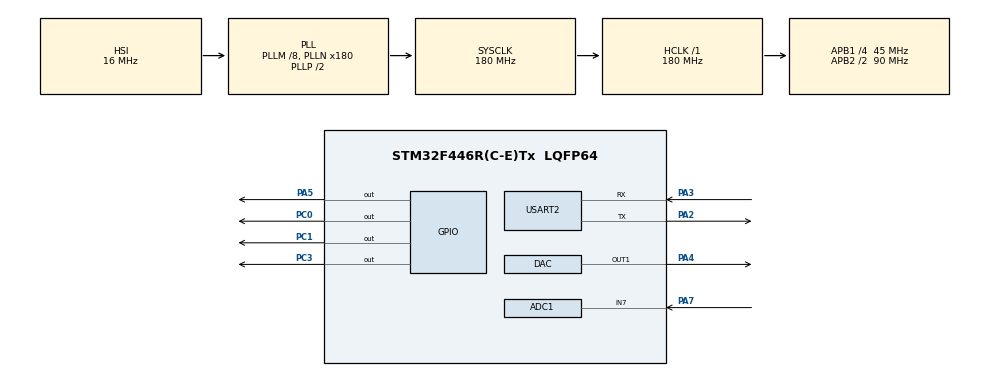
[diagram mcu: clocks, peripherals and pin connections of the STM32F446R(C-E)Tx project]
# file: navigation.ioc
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ADC1.Channel-0\#ChannelRegularConversion=ADC_CHANNEL_7
ADC1.ExternalTrigConv=ADC_EXTERNALTRIGCONV_T3_TRGO
ADC1.NbrOfConversionFlag=1
ADC1.Rank-0\#ChannelRegularConversion=1
ADC1.SamplingTime-0\#ChannelRegularConversion=ADC_SAMPLETIME_3CYCLES
ADC1.master=1
DAC.DAC_Trigger=DAC_TRIGGER_T2_TRGO
Dma.DAC1.0.Direction=DMA_MEMORY_TO_PERIPH
Dma.DAC1.0.FIFOMode=DMA_FIFOMODE_DISABLE
Dma.DAC1.0.Instance=DMA1_Stream5
Dma.DAC1.0.MemDataAlignment=DMA_MDATAALIGN_WORD
Dma.DAC1.0.MemInc=DMA_MINC_ENABLE
Dma.DAC1.0.Mode=DMA_NORMAL
Dma.DAC1.0.PeriphDataAlignment=DMA_PDATAALIGN_WORD
Dma.DAC1.0.PeriphInc=DMA_PINC_DISABLE
Dma.DAC1.0.Priority=DMA_PRIORITY_LOW
Dma.Request0=DAC1
Mcu.Family=STM32F4
Mcu.Name=STM32F446R(C-E)Tx
Mcu.Package=LQFP64
NVIC.ADC_IRQn=true\:0\:0\:false\:false\:true\:true\:true\:true
NVIC.DMA1_Stream5_IRQn=true\:0\:0\:false\:false\:true\:false\:true\:true
NVIC.PriorityGroup=NVIC_PRIORITYGROUP_4
PA13.Mode=Serial_Wire
PA13.Signal=SYS_JTMS-SWDIO
PA14.Mode=Serial_Wire
PA14.Signal=SYS_JTCK-SWCLK
PA2.Mode=Asynchronous
PA2.Signal=USART2_TX
PA3.Mode=Asynchronous
PA3.Signal=USART2_RX
PA4.Signal=COMP_DAC1_group
PA5.PinState=GPIO_PIN_SET
PA5.Signal=GPIO_Output
PA7.Signal=ADCx_IN7
PC0.GPIO_Speed=GPIO_SPEED_FREQ_LOW
PC0.Signal=GPIO_Output
PC1.GPIO_Speed=GPIO_SPEED_FREQ_LOW
PC1.Signal=GPIO_Output
PC3.GPIO_Speed=GPIO_SPEED_FREQ_LOW
PC3.Signal=GPIO_Output
PH0-OSC_IN.Mode=HSE-External-Oscillator
PH0-OSC_IN.Signal=RCC_OSC_IN
PH1-OSC_OUT.Mode=HSE-External-Oscillator
PH1-OSC_OUT.Signal=RCC_OSC_OUT
ProjectManager.HeapSize=0x200
ProjectManager.StackSize=0x400
ProjectManager.TargetToolchain=STM32CubeIDE
RCC.AHBFreq_Value=180000000
RCC.APB1CLKDivider=RCC_HCLK_DIV4
RCC.APB1Freq_Value=45000000
RCC.APB1TimFreq_Value=90000000
RCC.APB2CLKDivider=RCC_HCLK_DIV2
RCC.APB2Freq_Value=90000000
RCC.APB2TimFreq_Value=180000000
RCC.CortexFreq_Value=180000000
RCC.HCLKFreq_Value=180000000
RCC.PLLM=8
RCC.PLLN=180
RCC.SYSCLKFreq_VALUE=180000000
RCC.SYSCLKSource=RCC_SYSCLKSOURCE_PLLCLK
RCC.USBFreq_Value=180000000
RCC.VCOOutputFreq_Value=360000000
SH.ADCx_IN7.0=ADC1_IN7,IN7
SH.COMP_DAC1_group.0=DAC_OUT1,DAC_OUT1
TIM2.Period=561
TIM2.Prescaler=1
TIM3.Period=561
TIM3.Prescaler=1
USART2.VirtualMode=VM_ASYNC
VP_TIM2_VS_ClockSourceINT.Mode=Internal
VP_TIM3_VS_ClockSourceINT.Mode=Internal
board=custom

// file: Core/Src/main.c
/* USER CODE BEGIN Header */
/**
  ******************************************************************************
  * @file           : main.c
  * @brief          : Main program body
  ******************************************************************************
  * @attention
  *
  * Copyright (c) 2025 STMicroelectronics.
  * All rights reserved.
  *
  * This software is licensed under terms that can be found in the LICENSE file
  * in the root directory of this software component.
  * If no LICENSE file comes with this software, it is provided AS-IS.
  *
  ******************************************************************************
  */
/* USER CODE END Header */
#include "main.h"

/* USER CODE BEGIN Includes */
#include "math.h"
/* USER CODE END Includes */

/* USER CODE BEGIN PD */
#define MasSize 416
#define ADCIn MasSize + 200
/* USER CODE END PD */

ADC_HandleTypeDef hadc1;

DAC_HandleTypeDef hdac;
DMA_HandleTypeDef hdma_dac1;

TIM_HandleTypeDef htim2;
TIM_HandleTypeDef htim3;

UART_HandleTypeDef huart2;

/* USER CODE BEGIN PV */
const uint32_t Bark[MasSize] = {1736,2075,2400,2700,2964,3179,3340,3439,3472,3439,3340,3179,2964,2700,2400,2075,1736,1397,1072,772,508,293,132,33,0,33,132,293,508,772,1072,1397,1736,2075,2400,2700,2964,3179,3340,3439,3472,3439,3340,3179,2964,2700,2400,2075,1736,1397,1072,772,508,293,132,33,0,33,132,293,508,772,1072,1397,1736,2075,2400,2700,2964,3179,3340,3439,3472,3439,3340,3179,2964,2700,2400,2075,1736,1397,1072,772,508,293,132,33,0,33,132,293,508,772,1072,1397,1736,2075,2400,2700,2964,3179,3340,3439,3472,3439,3340,3179,2964,2700,2400,2075,1736,1397,1072,772,508,293,132,33,0,33,132,293,508,772,1072,1397,1736,2075,2400,2700,2964,3179,3340,3439,3472,3439,3340,3179,2964,2700,2400,2075,1736,1397,1072,772,508,293,132,33,0,33,132,293,508,772,1072,1397,1736,1397,1072,772,508,293,132,33,0,33,132,293,508,772,1072,1397,1736,2075,2400,2700,2964,3179,3340,3439,3472,3439,3340,3179,2964,2700,2400,2075,1736,1397,1072,772,508,293,132,33,0,33,132,293,508,772,1072,1397,1736,2075,2400,2700,2964,3179,3340,3439,3472,3439,3340,3179,2964,2700,2400,2075,1736,2075,2400,2700,2964,3179,3340,3439,3472,3439,3340,3179,2964,2700,2400,2075,1736,1397,1072,772,508,293,132,33,0,33,132,293,508,772,1072,1397,1736,2075,2400,2700,2964,3179,3340,3439,3472,3439,3340,3179,2964,2700,2400,2075,1736,1397,1072,772,508,293,132,33,0,33,132,293,508,772,1072,1397,1736,1397,1072,772,508,293,132,33,0,33,132,293,508,772,1072,1397,1736,2075,2400,2700,2964,3179,3340,3439,3472,3439,3340,3179,2964,2700,2400,2075,1736,2075,2400,2700,2964,3179,3340,3439,3472,3439,3340,3179,2964,2700,2400,2075,1736,1397,1072,772,508,293,132,33,0,33,132,293,508,772,1072,1397,1736,1397,1072,772,508,293,132,33,0,33,132,293,508,772,1072,1397,1736,2075,2400,2700,2964,3179,3340,3439,3472,3439,3340,3179,2964,2700,2400,2075,1736,2075,2400,2700,2964,3179,3340,3439,3472,3439,3340,3179,2964,2700,2400,2075,1736,1397,1072,772,508,293,132,33,0,33,132,293,508,772,1072,1397};
int32_t buff[ADCIn];
uint16_t num = 0;
volatile int32_t corr = 0;
volatile uint16_t distance = 0;
volatile uint8_t adcReady = 0;
uint8_t speakerNum = 1;
unsigned char a, buf[3];
unsigned char micdebug[4];
volatile int32_t debug1 = 0;
/* USER CODE END PV */

void SystemClock_Config(void);
static void MX_GPIO_Init(void);
static void MX_DMA_Init(void);
static void MX_ADC1_Init(void);
static void MX_DAC_Init(void);
static void MX_TIM2_Init(void);
static void MX_TIM3_Init(void);
static void MX_USART2_UART_Init(void);
/* USER CODE BEGIN PFP */
void autocorr(int32_t *mas1,const uint32_t *mas2);
int32_t calculateAverage(int32_t *mas1, int32_t length);
/* USER CODE END PFP */

int main(void)
{

  /* MCU Configuration--------------------------------------------------------*/

  /* Reset of all peripherals, Initializes the Flash interface and the Systick. */
  HAL_Init();

  /* Configure the system clock */
  SystemClock_Config();

  /* Initialize all configured peripherals */
  MX_GPIO_Init();
  MX_DMA_Init();
  MX_ADC1_Init();
  MX_DAC_Init();
  MX_TIM2_Init();
  MX_TIM3_Init();
  MX_USART2_UART_Init();
  /* USER CODE BEGIN 2 */
  HAL_UART_Transmit(&huart2,(uint8_t*)"System start\r\n", 16,100);

  if(HAL_TIM_Base_Start(&htim3)==HAL_OK){
	HAL_UART_Transmit(&huart2, (uint8_t*)"Tim3 start\r\n", 14,100);
  } else{
	HAL_UART_Transmit(&huart2, (uint8_t*)"Tim3 error\r\n", 12,100);
  }
  // Включаем первый динамик
  HAL_GPIO_WritePin(GPIOC, GPIO_PIN_1, GPIO_PIN_SET);
  HAL_GPIO_WritePin(GPIOC, GPIO_PIN_0, GPIO_PIN_RESET);
  HAL_GPIO_WritePin(GPIOC, GPIO_PIN_3, GPIO_PIN_RESET);
  HAL_Delay(1000);

  // Инициализируем DMA
  HAL_TIM_Base_Start(&htim2);
  HAL_DAC_Start_DMA(&hdac, DAC_CHANNEL_1, (uint32_t*)Bark, MasSize, DAC_ALIGN_12B_R);

  // Инициализируем ADC
  HAL_ADC_Start_IT(&hadc1);
  HAL_TIM_PWM_Start(&htim3, TIM_CHANNEL_1);

  // Включаем таймер, который отвечает за частоту измерения расстояний
  // HAL_TIM_Base_Start_IT(&htim1);
  /* USER CODE END 2 */

  /* Infinite loop */
  while (1)
  {
	        //debug1 = 0;
	        if(adcReady)//
	        {
	        	adcReady = 0;
	        	HAL_UART_Transmit(&huart2,(uint8_t*)"Processssss\r\n", 16,100);
	        	/*           for(uint16_t c = 0;c<ADCIn;c++)
	          {
	                debug1 = -buff[c];
	                HAL_Delay(3);
	            }*/

	            // Передача значений принятых с микрофона по UART. Раскомментировать при отладке.

	            for(uint16_t c = 0;c<ADCIn;c++)
	            {
	                debug1 = buff[c];
	                for( a=0; a<4; a++ ) micdebug[a] = '0';
	                while( debug1>=1000 )    { micdebug[0]++; debug1 = debug1-1000; }
	                while( debug1>=100 )     { micdebug[1]++; debug1 = debug1-100; }
	                while( debug1>=10 )      { micdebug[2]++; debug1 = debug1-10; }
	                micdebug[3] += debug1;
	                HAL_UART_Transmit(&huart2,(uint8_t*)micdebug, a, 1000);
	                HAL_UART_Transmit(&huart2,(uint8_t*)"\n", 1, 1000);
	            }

	            // Конец сегмента для отладки

	            // Вычисление постоянной составляющей и взаимной корреляции

	            int32_t mean = calculateAverage(buff,ADCIn);
	            for(uint16_t c = 0;c<ADCIn;c++)
	            {
	                buff[c] = buff[c]-mean;
	            }
	            autocorr(buff,Bark);

	            // Конец сегмента

	            num=0;

	            // Пересылка расстояния по UART. Закомментировать при отладке
	            /*
	            for( a=0; a<3; a++ ) buf[a] = '0';
	            while( distance>=100 )     { buf[0]++; distance = distance-100; }
	            while( distance>=10 )       { buf[1]++; distance = distance-10; }
	            buf[2] += distance;

	            HAL_UART_Transmit(&huart2,(uint8_t*)"s\n", 2, 1000);
	            HAL_UART_Transmit(&huart2,(uint8_t*)buf, a, 1000);
	            HAL_UART_Transmit(&huart2,(uint8_t*)"\n", 1, 1000);
	            HAL_Delay(30);
				*/
	            // Конец сегмента передачи расстояния по UART

	            // Переключаем светодиод для индикации следующего замера
	            HAL_GPIO_TogglePin(GPIOA,GPIO_PIN_6);

	            // Выбираем следующий динамик (необходимо раскомментировать необходимое)

	            /*(1)Переключение динамиков (основной режим работы)*/
	            speakerNum++;
	            /*(2)Только первый*/
	            //speakerNum=0;
	            /*(3)Только второй*/
	            //speakerNum=1;
	            /*(4)Только третий*/
	            //speakerNum=2;

	            if (speakerNum > 2){
	  					speakerNum = 0;
	  					}

	            // Включаем необходимый динамик
	            switch(speakerNum)
	            {
	            case 0:
	                HAL_GPIO_WritePin(GPIOC, GPIO_PIN_1, GPIO_PIN_SET);
	                break;
	            case 1:
	                HAL_GPIO_WritePin(GPIOC, GPIO_PIN_0, GPIO_PIN_SET);
	                break;
	            case 2:
	                HAL_GPIO_WritePin(GPIOC, GPIO_PIN_3, GPIO_PIN_SET);
	                break;
	            default :
	                break;
	            }

	            // Повторно запускаем DMA
	            HAL_DAC_Start_DMA(&hdac, DAC_CHANNEL_1, (uint32_t*)Bark, MasSize, DAC_ALIGN_12B_R);
	            // Повторно запускаем ADC
	            HAL_ADC_Start_IT(&hadc1);
	        }
  }
}

void SystemClock_Config(void)
{
  RCC_OscInitTypeDef RCC_OscInitStruct = {0};
  RCC_ClkInitTypeDef RCC_ClkInitStruct = {0};

  /** Configure the main internal regulator output voltage
  */
  __HAL_RCC_PWR_CLK_ENABLE();
  __HAL_PWR_VOLTAGESCALING_CONFIG(PWR_REGULATOR_VOLTAGE_SCALE1);

  /** Initializes the RCC Oscillators according to the specified parameters
  * in the RCC_OscInitTypeDef structure.
  */
  RCC_OscInitStruct.OscillatorType = RCC_OSCILLATORTYPE_HSI;
  RCC_OscInitStruct.HSIState = RCC_HSI_ON;
  RCC_OscInitStruct.HSICalibrationValue = RCC_HSICALIBRATION_DEFAULT;
  RCC_OscInitStruct.PLL.PLLState = RCC_PLL_ON;
  RCC_OscInitStruct.PLL.PLLSource = RCC_PLLSOURCE_HSI;
  RCC_OscInitStruct.PLL.PLLM = 8;
  RCC_OscInitStruct.PLL.PLLN = 180;
  RCC_OscInitStruct.PLL.PLLP = RCC_PLLP_DIV2;
  RCC_OscInitStruct.PLL.PLLQ = 2;
  RCC_OscInitStruct.PLL.PLLR = 2;
  if (HAL_RCC_OscConfig(&RCC_OscInitStruct) != HAL_OK)
  {
    Error_Handler();
  }

  /** Activate the Over-Drive mode
  */
  if (HAL_PWREx_EnableOverDrive() != HAL_OK)
  {
    Error_Handler();
  }

  /** Initializes the CPU, AHB and APB buses clocks
  */
  RCC_ClkInitStruct.ClockType = RCC_CLOCKTYPE_HCLK|RCC_CLOCKTYPE_SYSCLK
                              |RCC_CLOCKTYPE_PCLK1|RCC_CLOCKTYPE_PCLK2;
  RCC_ClkInitStruct.SYSCLKSource = RCC_SYSCLKSOURCE_PLLCLK;
  RCC_ClkInitStruct.AHBCLKDivider = RCC_SYSCLK_DIV1;
  RCC_ClkInitStruct.APB1CLKDivider = RCC_HCLK_DIV4;
  RCC_ClkInitStruct.APB2CLKDivider = RCC_HCLK_DIV2;

  if (HAL_RCC_ClockConfig(&RCC_ClkInitStruct, FLASH_LATENCY_5) != HAL_OK)
  {
    Error_Handler();
  }
}

static void MX_ADC1_Init(void)
{

  ADC_ChannelConfTypeDef sConfig = {0};

  /** Configure the global features of the ADC (Clock, Resolution, Data Alignment and number of conversion)
  */
  hadc1.Instance = ADC1;
  hadc1.Init.ClockPrescaler = ADC_CLOCK_SYNC_PCLK_DIV4;
  hadc1.Init.Resolution = ADC_RESOLUTION_12B;
  hadc1.Init.ScanConvMode = DISABLE;
  hadc1.Init.ContinuousConvMode = DISABLE;
  hadc1.Init.DiscontinuousConvMode = DISABLE;
  hadc1.Init.ExternalTrigConvEdge = ADC_EXTERNALTRIGCONVEDGE_RISING;
  hadc1.Init.ExternalTrigConv = ADC_EXTERNALTRIGCONV_T3_TRGO;
  hadc1.Init.DataAlign = ADC_DATAALIGN_RIGHT;
  hadc1.Init.NbrOfConversion = 1;
  hadc1.Init.DMAContinuousRequests = DISABLE;
  hadc1.Init.EOCSelection = ADC_EOC_SINGLE_CONV;
  if (HAL_ADC_Init(&hadc1) != HAL_OK)
  {
    Error_Handler();
  }

  /** Configure for the selected ADC regular channel its corresponding rank in the sequencer and its sample time.
  */
  sConfig.Channel = ADC_CHANNEL_7;
  sConfig.Rank = 1;
  sConfig.SamplingTime = ADC_SAMPLETIME_3CYCLES;
  if (HAL_ADC_ConfigChannel(&hadc1, &sConfig) != HAL_OK)
  {
    Error_Handler();
  }

}

static void MX_DAC_Init(void)
{

  DAC_ChannelConfTypeDef sConfig = {0};

  /** DAC Initialization
  */
  hdac.Instance = DAC;
  if (HAL_DAC_Init(&hdac) != HAL_OK)
  {
    Error_Handler();
  }

  /** DAC channel OUT1 config
  */
  sConfig.DAC_Trigger = DAC_TRIGGER_T2_TRGO;
  sConfig.DAC_OutputBuffer = DAC_OUTPUTBUFFER_ENABLE;
  if (HAL_DAC_ConfigChannel(&hdac, &sConfig, DAC_CHANNEL_1) != HAL_OK)
  {
    Error_Handler();
  }

}

static void MX_TIM2_Init(void)
{

  TIM_ClockConfigTypeDef sClockSourceConfig = {0};
  TIM_MasterConfigTypeDef sMasterConfig = {0};

  htim2.Instance = TIM2;
  htim2.Init.Prescaler = 1;
  htim2.Init.CounterMode = TIM_COUNTERMODE_UP;
  htim2.Init.Period = 561;
  htim2.Init.ClockDivision = TIM_CLOCKDIVISION_DIV1;
  htim2.Init.AutoReloadPreload = TIM_AUTORELOAD_PRELOAD_DISABLE;
  if (HAL_TIM_Base_Init(&htim2) != HAL_OK)
  {
    Error_Handler();
  }
  sClockSourceConfig.ClockSource = TIM_CLOCKSOURCE_INTERNAL;
  if (HAL_TIM_ConfigClockSource(&htim2, &sClockSourceConfig) != HAL_OK)
  {
    Error_Handler();
  }
  sMasterConfig.MasterOutputTrigger = TIM_TRGO_RESET;
  sMasterConfig.MasterSlaveMode = TIM_MASTERSLAVEMODE_DISABLE;
  if (HAL_TIMEx_MasterConfigSynchronization(&htim2, &sMasterConfig) != HAL_OK)
  {
    Error_Handler();
  }

}

static void MX_TIM3_Init(void)
{

  TIM_ClockConfigTypeDef sClockSourceConfig = {0};
  TIM_MasterConfigTypeDef sMasterConfig = {0};

  htim3.Instance = TIM3;
  htim3.Init.Prescaler = 1;
  htim3.Init.CounterMode = TIM_COUNTERMODE_UP;
  htim3.Init.Period = 561;
  htim3.Init.ClockDivision = TIM_CLOCKDIVISION_DIV1;
  htim3.Init.AutoReloadPreload = TIM_AUTORELOAD_PRELOAD_DISABLE;
  if (HAL_TIM_Base_Init(&htim3) != HAL_OK)
  {
    Error_Handler();
  }
  sClockSourceConfig.ClockSource = TIM_CLOCKSOURCE_INTERNAL;
  if (HAL_TIM_ConfigClockSource(&htim3, &sClockSourceConfig) != HAL_OK)
  {
    Error_Handler();
  }
  sMasterConfig.MasterOutputTrigger = TIM_TRGO_RESET;
  sMasterConfig.MasterSlaveMode = TIM_MASTERSLAVEMODE_DISABLE;
  if (HAL_TIMEx_MasterConfigSynchronization(&htim3, &sMasterConfig) != HAL_OK)
  {
    Error_Handler();
  }

}

static void MX_USART2_UART_Init(void)
{

  huart2.Instance = USART2;
  huart2.Init.BaudRate = 115200;
  huart2.Init.WordLength = UART_WORDLENGTH_8B;
  huart2.Init.StopBits = UART_STOPBITS_1;
  huart2.Init.Parity = UART_PARITY_NONE;
  huart2.Init.Mode = UART_MODE_TX_RX;
  huart2.Init.HwFlowCtl = UART_HWCONTROL_NONE;
  huart2.Init.OverSampling = UART_OVERSAMPLING_16;
  if (HAL_UART_Init(&huart2) != HAL_OK)
  {
    Error_Handler();
  }

}

static void MX_DMA_Init(void)
{

  /* DMA controller clock enable */
  __HAL_RCC_DMA1_CLK_ENABLE();

  /* DMA interrupt init */
  /* DMA1_Stream5_IRQn interrupt configuration */
  HAL_NVIC_SetPriority(DMA1_Stream5_IRQn, 0, 0);
  HAL_NVIC_EnableIRQ(DMA1_Stream5_IRQn);

}

static void MX_GPIO_Init(void)
{
  GPIO_InitTypeDef GPIO_InitStruct = {0};

  /* GPIO Ports Clock Enable */
  __HAL_RCC_GPIOH_CLK_ENABLE();
  __HAL_RCC_GPIOC_CLK_ENABLE();
  __HAL_RCC_GPIOA_CLK_ENABLE();

  /*Configure GPIO pin Output Level */
  HAL_GPIO_WritePin(GPIOC, GPIO_PIN_0|GPIO_PIN_1|GPIO_PIN_3, GPIO_PIN_RESET);

  /*Configure GPIO pin Output Level */
  HAL_GPIO_WritePin(GPIOA, GPIO_PIN_5, GPIO_PIN_SET);

  /*Configure GPIO pins : PC0 PC1 PC3 */
  GPIO_InitStruct.Pin = GPIO_PIN_0|GPIO_PIN_1|GPIO_PIN_3;
  GPIO_InitStruct.Mode = GPIO_MODE_OUTPUT_PP;
  GPIO_InitStruct.Pull = GPIO_NOPULL;
  GPIO_InitStruct.Speed = GPIO_SPEED_FREQ_LOW;
  HAL_GPIO_Init(GPIOC, &GPIO_InitStruct);

  /*Configure GPIO pin : PA5 */
  GPIO_InitStruct.Pin = GPIO_PIN_5;
  GPIO_InitStruct.Mode = GPIO_MODE_OUTPUT_PP;
  GPIO_InitStruct.Pull = GPIO_NOPULL;
  GPIO_InitStruct.Speed = GPIO_SPEED_FREQ_LOW;
  HAL_GPIO_Init(GPIOA, &GPIO_InitStruct);

}

/* USER CODE BEGIN 4 */
//                        buff Bark
void autocorr(int32_t *mas1,const uint32_t *mas2)
{
    volatile int32_t maxcorr = 0;
    volatile int32_t ans = 0;
    volatile int32_t sdvig = 0;
    for(uint16_t t = 0; t<ADCIn; t++)
    {
        volatile int32_t vnutr = 0;
        for(volatile uint16_t i = 0;i<MasSize;i++)
        {
            sdvig = i+t;
            if(sdvig<ADCIn)
            {
            //vnutr=vnutr+(-mas1[sdvig])*((int16_t)mas2[i]-(4095-500));
            vnutr=vnutr+(mas1[sdvig])*((int16_t)mas2[i]-1736);
            }
        }
        corr = vnutr;
        if(corr>maxcorr){maxcorr=corr;ans=t;}
    }
    distance=round(ans*33/16);
}

int32_t calculateAverage(int32_t *mas1, int32_t length) {
    int sum = 0;
    for (int i = 0; i < length; i++) {
        sum += mas1[i];
    }
    int average = sum / length;
    return average;
}

void HAL_ADC_ConvCpltCallback(ADC_HandleTypeDef* hadc)
{
if(hadc->Instance == ADC1) //check if the interrupt comes from ACD1
    {
            // Заполняем массив значениями с микрофона
            if(num<(ADCIn))
            {
                buff[num]=HAL_ADC_GetValue(&hadc1);
                num++;
            }
            else
            {

            // Приостанавливаем передачу и прием данных
            HAL_GPIO_WritePin(GPIOC, GPIO_PIN_1, GPIO_PIN_RESET);
            HAL_GPIO_WritePin(GPIOC, GPIO_PIN_0, GPIO_PIN_RESET);
            HAL_GPIO_WritePin(GPIOC, GPIO_PIN_3, GPIO_PIN_RESET);

            //HAL_DAC_Stop_DMA(&hdac, DAC_CHANNEL_1);
            HAL_ADC_Stop_IT(&hadc1);
            }
    }
}

void HAL_TIM_PeriodElapsedCallback(TIM_HandleTypeDef *htim)
{
    if (htim->Instance==TIM1)
    {

       num=0;

       // Переключаем светодиод для индикации следующего замера
       HAL_GPIO_TogglePin(GPIOA,GPIO_PIN_6);

       // Включаем необходимый динамик
       switch(speakerNum)
       {
       case 0:
           HAL_GPIO_WritePin(GPIOC, GPIO_PIN_1, GPIO_PIN_SET);
           break;
       case 1:
           HAL_GPIO_WritePin(GPIOC, GPIO_PIN_0, GPIO_PIN_SET);
           break;
       case 2:
           HAL_GPIO_WritePin(GPIOC, GPIO_PIN_3, GPIO_PIN_SET);
           break;
       default :
           break;
       }

       //speakerNum++;
       speakerNum=0;
       if (speakerNum > 2){speakerNum = 0;}

       // Повторно запускаем DMA
       HAL_DAC_Start_DMA(&hdac, DAC_CHANNEL_1, (uint32_t*)Bark, MasSize, DAC_ALIGN_12B_R);
       // Повторно запускаем ADC
       HAL_ADC_Start_IT(&hadc1);

    }
}
/* USER CODE END 4 */

void Error_Handler(void)
{
  __disable_irq();
  while (1)
  {
  }
}
